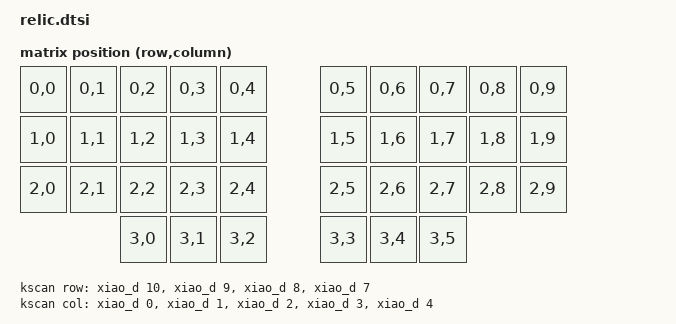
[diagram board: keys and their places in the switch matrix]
#include <dt-bindings/zmk/matrix_transform.h>

#include "relic-layouts.dtsi"

/ {
    chosen {
        zmk,physical-layout = &default_layout;
    };

    kscan: kscan {
        compatible = "zmk,kscan-gpio-matrix";
        diode-direction = "col2row";
        wakeup-source;

        row-gpios
            = <&xiao_d 10 (GPIO_ACTIVE_HIGH | GPIO_PULL_DOWN)>
            , <&xiao_d 9 (GPIO_ACTIVE_HIGH | GPIO_PULL_DOWN)>
            , <&xiao_d 8 (GPIO_ACTIVE_HIGH | GPIO_PULL_DOWN)>
            , <&xiao_d 7 (GPIO_ACTIVE_HIGH | GPIO_PULL_DOWN)>
            ;
        col-gpios
            = <&xiao_d 0 (GPIO_ACTIVE_HIGH | GPIO_PULL_DOWN)>
            , <&xiao_d 1 (GPIO_ACTIVE_HIGH | GPIO_PULL_DOWN)>
            , <&xiao_d 2 (GPIO_ACTIVE_HIGH | GPIO_PULL_DOWN)>
            , <&xiao_d 3 (GPIO_ACTIVE_HIGH | GPIO_PULL_DOWN)>
            , <&xiao_d 4 (GPIO_ACTIVE_HIGH | GPIO_PULL_DOWN)>
            ;
    };

    default_transform: default_transform {
        compatible = "zmk,matrix-transform";
        columns = <10>;
        rows = <4>;

        map = <
        //  LKey 1 |LKey 2 |LKey 3 |LKey 4 |LKey 5      RKey 1 |RKey 2 |RKey 3 |RKey 3 |RKey 3
            RC(0,0) RC(0,1) RC(0,2) RC(0,3) RC(0,4)     RC(0,5) RC(0,6) RC(0,7) RC(0,8) RC(0,9)
        //  LKey 4 |LKey 5 |LKey 6 |LKey 6 |LKey 6      RKey 4 |RKey 5 |RKey 6 |RKey 3 |RKey 3
            RC(1,0) RC(1,1) RC(1,2) RC(1,3) RC(1,4)     RC(1,5) RC(1,6) RC(1,7) RC(1,8) RC(1,9)
        //  LKey 7 |LKey 8 |LKey 9 |LKey 6 |LKey 6      RKey 7 |RKey 8 |RKey 9 |RKey 3 |RKey 3
            RC(2,0) RC(2,1) RC(2,2) RC(2,3) RC(2,4)     RC(2,5) RC(2,6) RC(2,7) RC(2,8) RC(2,9)
                            RC(3,0) RC(3,1) RC(3,2)     RC(3,3) RC(3,4) RC(3,5)
        >;
    };
};
